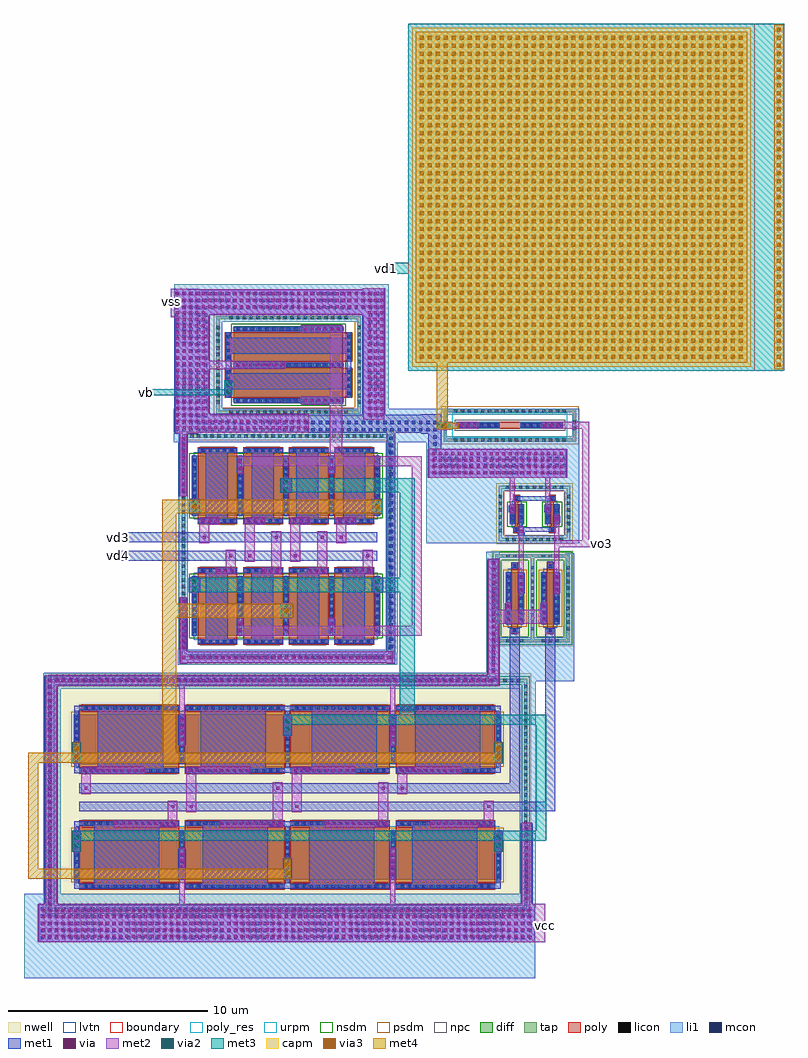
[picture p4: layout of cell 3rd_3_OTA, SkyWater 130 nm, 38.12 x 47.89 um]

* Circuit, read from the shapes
.subckt 3rd_3_OTA vb vcc vd1 vd3 vd4 vo3 vss
XM1 n1 vd4 n2 vss sky130_fd_pr__nfet_01v8_lvt w=3 l=2 m=4
XM2 n1 vd3 n3 vss sky130_fd_pr__nfet_01v8_lvt w=3 l=2 m=4
XM3 vss vb n1 vss sky130_fd_pr__nfet_01v8 w=5.5 l=1.5 m=2
XM4 n4 n4 vss vss sky130_fd_pr__nfet_01v8_lvt w=1 l=0.15
XM5 vo3 n4 vss vss sky130_fd_pr__nfet_01v8_lvt w=1 l=0.15
XM6 vcc n2 n2 vcc sky130_fd_pr__pfet_01v8_lvt w=2.5 l=5 m=4
XM7 vcc n3 n3 vcc sky130_fd_pr__pfet_01v8_lvt w=2.5 l=5 m=4
XM8 n4 n3 vcc vcc sky130_fd_pr__pfet_01v8_lvt w=2.6 l=0.35
XM9 vo3 n2 vcc vcc sky130_fd_pr__pfet_01v8_lvt w=2.6 l=0.35
XC10 n5 vd1 sky130_fd_pr__cap_mim_m3_1 w=17 l=17
XR11 vo3 n5 vss sky130_fd_pr__res_xhigh_po w=0.35 l=1.08
.ends

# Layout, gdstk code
from math import pi, radians
import gdstk
lib = gdstk.Library(unit=1e-6, precision=1e-09)
def R(c, l, rs):  # rectangles x0, y0, x1, y1
    for r in rs: c.add(gdstk.rectangle(r[:2], r[2:], *l))
def A(c, l, x, y, w, h, nx, ny, dx, dy):  # array of equal rectangles
    R(c, l, [(x+i*dx, y+j*dy, x+i*dx+w, y+j*dy+h) for i in range(nx) for j in range(ny)])
nwell = (64, 20)
diff = (65, 20)
tap = (65, 44)
poly_res = (66, 13)
poly = (66, 20)
licon = (66, 44)
li1 = (67, 20)
mcon = (67, 44)
met1 = (68, 20)
via = (68, 44)
met2 = (69, 20)
via2 = (69, 44)
met3 = (70, 20)
via3 = (70, 44)
met4 = (71, 20)
urpm = (79, 20)
capm = (89, 44)
nsdm = (93, 44)
psdm = (94, 20)
npc = (95, 20)
lvtn = (125, 44)
boundary = (235, 4)

sky130_fd_pr__res_xhigh_ = lib.new_cell('sky130_fd_pr__res_xhigh_po_0p35_NX66A7')
R(sky130_fd_pr__res_xhigh_, tap, [(-0.825,-3.33,0.825,-3.16), (-0.825,-3.16,-0.655,3.16), (0.655,-3.16,0.825,3.16), (-0.825,3.16,0.825,3.33)])
R(sky130_fd_pr__res_xhigh_, poly_res, [(-0.175,-0.6,0.175,0.6)])
R(sky130_fd_pr__res_xhigh_, poly, [(-0.175,-2.68,0.175,2.68)])
A(sky130_fd_pr__res_xhigh_, licon, -0.825, -2.805, 0.17, 0.17, 1, 17, 0, 0.34)
A(sky130_fd_pr__res_xhigh_, licon, 0.655, -2.805, 0.17, 0.17, 1, 17, 0, 0.34)
R(sky130_fd_pr__res_xhigh_, licon, [(-0.255,-3.33,-0.085,-3.16), (0.085,-3.33,0.255,-3.16), (-0.095,-2.6,0.095,-0.6), (-0.095,0.6,0.095,2.6), (-0.255,3.16,-0.085,3.33), (0.085,3.16,0.255,3.33)])
R(sky130_fd_pr__res_xhigh_, li1, [(-0.825,-3.33,0.825,-3.16), (-0.825,-3.16,-0.655,3.16), (0.655,-3.16,0.825,3.16), (-0.175,-2.68,0.175,-0.52), (-0.175,0.52,0.175,2.68), (-0.825,3.16,0.825,3.33)])
A(sky130_fd_pr__res_xhigh_, mcon, -0.085, -2.585, 0.17, 0.17, 1, 6, 0, 0.36)
A(sky130_fd_pr__res_xhigh_, mcon, -0.085, 0.61, 0.17, 0.17, 1, 6, 0, 0.36)
R(sky130_fd_pr__res_xhigh_, met1, [(-0.125,-2.65,0.125,-0.545), (-0.125,0.545,0.125,2.65)])
R(sky130_fd_pr__res_xhigh_, urpm, [(-0.635,-2.88,0.635,2.88)])
R(sky130_fd_pr__res_xhigh_, psdm, [(-0.95,-3.455,0.95,3.455)])
R(sky130_fd_pr__res_xhigh_, npc, [(-0.27,-2.775,0.27,2.775)])
R(sky130_fd_pr__res_xhigh_, boundary, [(-0.74,-3.245,0.74,3.245)])

sky130_fd_pr__nfet_01v8_ = lib.new_cell('sky130_fd_pr__nfet_01v8_lvt_D5AAWA')
R(sky130_fd_pr__nfet_01v8_, diff, [(-1.29,-1.5,1.29,1.5)])
R(sky130_fd_pr__nfet_01v8_, poly, [(-1,-1.94,1,1.94)])
A(sky130_fd_pr__nfet_01v8_, licon, -0.765, -1.86, 0.17, 0.17, 5, 2, 0.34, 3.55)
A(sky130_fd_pr__nfet_01v8_, licon, -1.23, -1.275, 0.17, 0.17, 1, 8, 0, 0.34)
A(sky130_fd_pr__nfet_01v8_, licon, 1.06, -1.275, 0.17, 0.17, 1, 8, 0, 0.34)
R(sky130_fd_pr__nfet_01v8_, li1, [(-1,-1.86,1,-1.69), (-1.23,-1.52,-1.06,1.52), (1.06,-1.52,1.23,1.52), (-1,1.69,1,1.86)])
A(sky130_fd_pr__nfet_01v8_, mcon, -0.805, -1.86, 0.17, 0.17, 5, 2, 0.36, 3.55)
A(sky130_fd_pr__nfet_01v8_, mcon, -1.23, -1.345, 0.17, 0.17, 1, 8, 0, 0.36)
A(sky130_fd_pr__nfet_01v8_, mcon, 1.06, -1.345, 0.17, 0.17, 1, 8, 0, 0.36)
R(sky130_fd_pr__nfet_01v8_, met1, [(-0.98,-1.89,0.98,-1.66), (-1.26,-1.5,-1.03,1.5), (1.03,-1.5,1.26,1.5), (-0.98,1.66,0.98,1.89)])
R(sky130_fd_pr__nfet_01v8_, nsdm, [(-1.415,-1.625,1.415,1.625)])
R(sky130_fd_pr__nfet_01v8_, npc, [(-0.865,-1.96,0.865,-1.59), (-0.865,1.59,0.865,1.96)])
R(sky130_fd_pr__nfet_01v8_, lvtn, [(-1.18,-1.68,1.18,1.68)])

sky130_fd_pr__pfet_01v8_ = lib.new_cell('sky130_fd_pr__pfet_01v8_lvt_227YHS')
R(sky130_fd_pr__pfet_01v8_, nwell, [(-2.97,-1.75,2.97,1.75)])
R(sky130_fd_pr__pfet_01v8_, diff, [(-2.79,-1.25,2.79,1.25)])
R(sky130_fd_pr__pfet_01v8_, poly, [(-2.5,-1.735,2.5,1.735)])
A(sky130_fd_pr__pfet_01v8_, licon, -2.295, -1.655, 0.17, 0.17, 14, 2, 0.34, 3.14)
A(sky130_fd_pr__pfet_01v8_, licon, -2.73, -1.105, 0.17, 0.17, 1, 7, 0, 0.34)
A(sky130_fd_pr__pfet_01v8_, licon, 2.56, -1.105, 0.17, 0.17, 1, 7, 0, 0.34)
R(sky130_fd_pr__pfet_01v8_, li1, [(-2.5,-1.655,2.5,-1.485), (-2.73,-1.27,-2.56,1.27), (2.56,-1.27,2.73,1.27), (-2.5,1.485,2.5,1.655)])
A(sky130_fd_pr__pfet_01v8_, mcon, -2.245, -1.655, 0.17, 0.17, 13, 2, 0.36, 3.14)
A(sky130_fd_pr__pfet_01v8_, mcon, -2.73, -1.165, 0.17, 0.17, 1, 7, 0, 0.36)
A(sky130_fd_pr__pfet_01v8_, mcon, 2.56, -1.165, 0.17, 0.17, 1, 7, 0, 0.36)
R(sky130_fd_pr__pfet_01v8_, met1, [(-2.48,-1.685,2.48,-1.455), (-2.76,-1.25,-2.53,1.25), (2.53,-1.25,2.76,1.25), (-2.48,1.455,2.48,1.685)])
R(sky130_fd_pr__pfet_01v8_, psdm, [(-2.915,-1.375,2.915,1.375)])
R(sky130_fd_pr__pfet_01v8_, npc, [(-2.395,-1.755,2.395,-1.385), (-2.395,1.385,2.395,1.755)])
R(sky130_fd_pr__pfet_01v8_, lvtn, [(-2.68,-1.43,2.68,1.43)])

c_sky130_fd_pr__nfet_01v8_ = lib.new_cell('sky130_fd_pr__nfet_01v8_lvt_RX9YJP')
R(c_sky130_fd_pr__nfet_01v8_, diff, [(-0.365,-0.5,0.365,0.5)])
R(c_sky130_fd_pr__nfet_01v8_, poly, [(-0.165,-0.94,0.165,-0.61), (-0.075,-0.61,0.075,0.61), (-0.165,0.61,0.165,0.94)])
A(c_sky130_fd_pr__nfet_01v8_, licon, -0.305, -0.425, 0.17, 0.17, 1, 3, 0, 0.34)
A(c_sky130_fd_pr__nfet_01v8_, licon, 0.135, -0.425, 0.17, 0.17, 1, 3, 0, 0.34)
R(c_sky130_fd_pr__nfet_01v8_, licon, [(-0.085,-0.86,0.085,-0.69), (-0.085,0.69,0.085,0.86)])
R(c_sky130_fd_pr__nfet_01v8_, li1, [(-0.165,-0.86,0.165,-0.69), (-0.305,-0.52,-0.135,0.52), (0.135,-0.52,0.305,0.52), (-0.165,0.69,0.165,0.86)])
R(c_sky130_fd_pr__nfet_01v8_, mcon, [(-0.085,-0.86,0.085,-0.69), (-0.305,-0.265,-0.135,-0.095), (0.135,-0.265,0.305,-0.095), (-0.305,0.095,-0.135,0.265), (0.135,0.095,0.305,0.265), (-0.085,0.69,0.085,0.86)])
R(c_sky130_fd_pr__nfet_01v8_, met1, [(-0.145,-0.89,0.145,-0.66), (-0.335,-0.5,-0.105,0.5), (0.105,-0.5,0.335,0.5), (-0.145,0.66,0.145,0.89)])
R(c_sky130_fd_pr__nfet_01v8_, nsdm, [(-0.49,-0.625,0.49,0.625)])
R(c_sky130_fd_pr__nfet_01v8_, npc, [(-0.185,-0.96,0.185,-0.59), (-0.185,0.59,0.185,0.96)])
R(c_sky130_fd_pr__nfet_01v8_, lvtn, [(-0.255,-0.68,0.255,0.68)])

c_sky130_fd_pr__pfet_01v8_ = lib.new_cell('sky130_fd_pr__pfet_01v8_lvt_K7KF7V')
R(c_sky130_fd_pr__pfet_01v8_, nwell, [(-1.155,-2.395,1.155,2.395)])
R(c_sky130_fd_pr__pfet_01v8_, diff, [(-0.465,-1.3,0.465,1.3)])
R(c_sky130_fd_pr__pfet_01v8_, tap, [(-0.975,-2.215,0.975,-2.045), (-0.975,-2.045,-0.805,2.045), (0.805,-2.045,0.975,2.045), (-0.975,2.045,0.975,2.215)])
R(c_sky130_fd_pr__pfet_01v8_, poly, [(-0.175,-1.785,0.175,1.785)])
A(c_sky130_fd_pr__pfet_01v8_, licon, -0.425, -2.215, 0.17, 0.17, 3, 2, 0.34, 4.26)
A(c_sky130_fd_pr__pfet_01v8_, licon, -0.975, -1.615, 0.17, 0.17, 1, 10, 0, 0.34)
A(c_sky130_fd_pr__pfet_01v8_, licon, 0.805, -1.615, 0.17, 0.17, 1, 10, 0, 0.34)
A(c_sky130_fd_pr__pfet_01v8_, licon, -0.405, -1.105, 0.17, 0.17, 1, 7, 0, 0.34)
A(c_sky130_fd_pr__pfet_01v8_, licon, 0.235, -1.105, 0.17, 0.17, 1, 7, 0, 0.34)
R(c_sky130_fd_pr__pfet_01v8_, licon, [(-0.085,-1.705,0.085,-1.535), (-0.085,1.535,0.085,1.705)])
R(c_sky130_fd_pr__pfet_01v8_, li1, [(-0.975,-2.215,0.975,-2.045), (-0.975,-2.045,-0.805,2.045), (0.805,-2.045,0.975,2.045), (-0.175,-1.705,0.175,-1.535), (-0.405,-1.32,-0.235,1.32), (0.235,-1.32,0.405,1.32), (-0.175,1.535,0.175,1.705), (-0.975,2.045,0.975,2.215)])
A(c_sky130_fd_pr__pfet_01v8_, mcon, -0.405, -1.165, 0.17, 0.17, 1, 7, 0, 0.36)
A(c_sky130_fd_pr__pfet_01v8_, mcon, 0.235, -1.165, 0.17, 0.17, 1, 7, 0, 0.36)
R(c_sky130_fd_pr__pfet_01v8_, mcon, [(-0.085,-1.705,0.085,-1.535), (-0.085,1.535,0.085,1.705)])
R(c_sky130_fd_pr__pfet_01v8_, met1, [(-0.155,-1.735,0.155,-1.505), (-0.435,-1.3,-0.205,1.3), (0.205,-1.3,0.435,1.3), (-0.155,1.505,0.155,1.735)])
R(c_sky130_fd_pr__pfet_01v8_, nsdm, [(-1.1,-2.34,1.1,-1.92), (-1.1,-1.92,-0.68,1.92), (0.68,-1.92,1.1,1.92), (-1.1,1.92,1.1,2.34)])
R(c_sky130_fd_pr__pfet_01v8_, psdm, [(-0.59,-1.425,0.59,1.425)])
R(c_sky130_fd_pr__pfet_01v8_, npc, [(-0.185,-1.805,0.185,-1.435), (-0.185,1.435,0.185,1.805)])
R(c_sky130_fd_pr__pfet_01v8_, lvtn, [(-0.355,-1.48,0.355,1.48)])
R(c_sky130_fd_pr__pfet_01v8_, boundary, [(-0.89,-2.13,0.89,2.13)])

c_sky130_fd_pr__nfet_01v8__ = lib.new_cell('sky130_fd_pr__nfet_01v8_22NDE3')
R(c_sky130_fd_pr__nfet_01v8__, diff, [(-1.935,-2.75,1.935,2.75)])
R(c_sky130_fd_pr__nfet_01v8__, tap, [(-2.445,-3.62,2.445,-3.45), (-2.445,-3.45,-2.275,3.45), (2.275,-3.45,2.445,3.45), (-2.445,3.45,2.445,3.62)])
R(c_sky130_fd_pr__nfet_01v8__, poly, [(-1.645,-3.19,-0.145,3.19), (0.145,-3.19,1.645,3.19)])
A(c_sky130_fd_pr__nfet_01v8__, licon, -1.955, -3.62, 0.17, 0.17, 12, 2, 0.34, 7.07)
A(c_sky130_fd_pr__nfet_01v8__, licon, -1.49, -3.11, 0.17, 0.17, 4, 2, 0.34, 6.05)
A(c_sky130_fd_pr__nfet_01v8__, licon, 0.3, -3.11, 0.17, 0.17, 4, 2, 0.34, 6.05)
A(c_sky130_fd_pr__nfet_01v8__, licon, -2.445, -2.975, 0.17, 0.17, 1, 18, 0, 0.34)
A(c_sky130_fd_pr__nfet_01v8__, licon, 2.275, -2.975, 0.17, 0.17, 1, 18, 0, 0.34)
A(c_sky130_fd_pr__nfet_01v8__, licon, -1.875, -2.635, 0.17, 0.17, 3, 16, 1.79, 0.34)
A(c_sky130_fd_pr__nfet_01v8__, li1, -1.875, -2.77, 0.17, 5.54, 3, 1, 1.79, 0)
R(c_sky130_fd_pr__nfet_01v8__, li1, [(-2.445,-3.62,2.445,-3.45), (-2.445,-3.45,-2.275,3.45), (2.275,-3.45,2.445,3.45), (-1.645,-3.11,-0.145,-2.94), (0.145,-3.11,1.645,-2.94), (-1.645,2.94,-0.145,3.11), (0.145,2.94,1.645,3.11), (-2.445,3.45,2.445,3.62)])
A(c_sky130_fd_pr__nfet_01v8__, mcon, -1.52, -3.11, 0.17, 0.17, 4, 2, 0.36, 6.05)
A(c_sky130_fd_pr__nfet_01v8__, mcon, 0.27, -3.11, 0.17, 0.17, 4, 2, 0.36, 6.05)
A(c_sky130_fd_pr__nfet_01v8__, mcon, -1.875, -2.605, 0.17, 0.17, 3, 15, 1.79, 0.36)
A(c_sky130_fd_pr__nfet_01v8__, met1, -1.905, -2.75, 0.23, 5.5, 3, 1, 1.79, 0)
R(c_sky130_fd_pr__nfet_01v8__, met1, [(-1.625,-3.14,-0.165,-2.91), (0.165,-3.14,1.625,-2.91), (-1.625,2.91,-0.165,3.14), (0.165,2.91,1.625,3.14)])
R(c_sky130_fd_pr__nfet_01v8__, nsdm, [(-2.06,-2.875,2.06,2.875)])
R(c_sky130_fd_pr__nfet_01v8__, psdm, [(-2.57,-3.745,2.57,-3.325), (-2.57,-3.325,-2.15,3.325), (2.15,-3.325,2.57,3.325), (-2.57,3.325,2.57,3.745)])
R(c_sky130_fd_pr__nfet_01v8__, npc, [(-1.59,-3.21,-0.2,-2.84), (0.2,-3.21,1.59,-2.84), (-1.59,2.84,-0.2,3.21), (0.2,2.84,1.59,3.21)])
R(c_sky130_fd_pr__nfet_01v8__, boundary, [(-2.36,-3.535,2.36,3.535)])

sky130_fd_pr__cap_mim_m3 = lib.new_cell('sky130_fd_pr__cap_mim_m3_1_Q3FE5R')
R(sky130_fd_pr__cap_mim_m3, met3, [(-9.43,-8.7,9.43,8.7)])
A(sky130_fd_pr__cap_mim_m3, via3, 9.07, -8.5, 0.2, 0.2, 1, 43, 0, 0.4)
A(sky130_fd_pr__cap_mim_m3, via3, -8.83, -8.1, 0.2, 0.2, 41, 41, 0.4, 0.4)
R(sky130_fd_pr__cap_mim_m3, met4, [(8.93,-8.64,9.41,8.64), (-9.035,-8.305,7.575,8.305)])
R(sky130_fd_pr__cap_mim_m3, capm, [(-9.23,-8.5,7.77,8.5)])
R(sky130_fd_pr__cap_mim_m3, boundary, [(-9.43,-8.7,7.97,8.7)])

c_3rd_3_ota = lib.new_cell('3rd_3_OTA')
R(c_3rd_3_ota, nwell, [(-4.1,2.42,20.37,14.59)])
R(c_3rd_3_ota, tap, [(-3.84,2.64,20.19,2.81), (-3.84,2.81,-3.67,14.135), (20.02,2.81,20.19,14.135), (-3.84,14.135,20.19,14.305), (2.86,15.375,13.37,15.545), (2.86,15.545,3.03,26.395), (13.2,15.545,13.37,26.395), (18.74,21.2,22.335,21.37), (18.74,21.37,18.91,23.83), (22.165,21.37,22.335,23.83), (18.74,23.83,22.335,24), (2.86,26.395,13.37,26.565)])
A(c_3rd_3_ota, licon, -3.47, 2.64, 0.17, 0.17, 69, 2, 0.34, 11.495)
A(c_3rd_3_ota, licon, -3.84, 2.945, 0.17, 0.17, 1, 33, 0, 0.34)
A(c_3rd_3_ota, licon, 20.02, 2.945, 0.17, 0.17, 1, 33, 0, 0.34)
A(c_3rd_3_ota, licon, 3.27, 15.375, 0.17, 0.17, 29, 2, 0.34, 11.02)
A(c_3rd_3_ota, licon, 2.86, 15.785, 0.17, 0.17, 1, 31, 0, 0.34)
A(c_3rd_3_ota, licon, 13.2, 15.785, 0.17, 0.17, 1, 31, 0, 0.34)
A(c_3rd_3_ota, licon, 19.09, 21.2, 0.17, 0.17, 9, 2, 0.34, 2.63)
A(c_3rd_3_ota, licon, 18.74, 21.665, 0.17, 0.17, 1, 6, 0, 0.34)
A(c_3rd_3_ota, licon, 22.165, 21.665, 0.17, 0.17, 1, 6, 0, 0.34)
R(c_3rd_3_ota, li1, [(-5.065,-0.72,20.585,2.8), (-5.065,2.8,20.6,3.53), (-4.11,3.53,-3.21,13.81), (19.81,3.53,20.6,13.81), (-4.11,13.81,20.6,14.19), (-4.11,14.19,22.535,14.57), (-4.04,14.57,22.535,14.6), (18.115,14.6,22.535,16.395), (2.65,15.005,13.655,15.615), (2.65,15.615,13.695,15.755), (2.685,15.755,3.15,26.165), (13.085,15.755,13.695,26.16), (18.115,16.395,18.805,20.675), (22.12,16.395,22.535,20.605), (15.125,21.1,22.795,21.49), (15.125,21.49,19,23.745), (22.065,21.49,22.795,23.745), (15.125,23.745,22.795,26.16), (13.085,26.16,22.795,26.165), (2.455,26.165,22.795,26.48), (2.455,26.48,16.05,27.54), (22.44,26.48,22.795,27.54), (2.455,27.54,22.795,27.855), (2.47,27.855,4.885,32.205), (11.675,27.855,13.235,32.205), (13.6,27.855,22.795,27.86), (2.47,32.205,13.235,34.105)])
A(c_3rd_3_ota, mcon, -4.235, 1.235, 0.17, 0.17, 69, 5, 0.36, 0.36)
A(c_3rd_3_ota, mcon, -3.875, 3.035, 0.17, 0.17, 1, 31, 0, 0.36)
A(c_3rd_3_ota, mcon, 20.07, 3.21, 0.17, 0.17, 1, 11, 0, 0.36)
A(c_3rd_3_ota, mcon, -3.875, 14.195, 0.17, 0.17, 63, 1, 0.36, 0)
A(c_3rd_3_ota, mcon, 18.395, 14.67, 0.17, 0.17, 1, 16, 0, 0.36)
A(c_3rd_3_ota, mcon, 3.345, 15.3, 0.17, 0.17, 27, 1, 0.36, 0)
A(c_3rd_3_ota, mcon, 13.255, 15.85, 0.17, 0.17, 1, 30, 0, 0.36)
A(c_3rd_3_ota, mcon, 2.845, 15.92, 0.17, 0.17, 1, 7, 0, 0.36)
A(c_3rd_3_ota, mcon, 2.84, 23.65, 0.17, 0.17, 1, 8, 0, 0.36)
A(c_3rd_3_ota, mcon, 15.475, 24.555, 0.17, 0.17, 19, 3, 0.36, 0.36)
A(c_3rd_3_ota, mcon, 15.475, 25.635, 0.17, 0.17, 1, 3, 0, 0.36)
A(c_3rd_3_ota, mcon, 2.515, 26.715, 0.17, 0.17, 37, 2, 0.36, 0.36)
A(c_3rd_3_ota, mcon, 2.515, 27.435, 0.17, 0.17, 5, 15, 0.36, 0.36)
A(c_3rd_3_ota, mcon, 12.235, 27.435, 0.17, 0.17, 1, 15, 0, 0.36)
A(c_3rd_3_ota, mcon, 12.595, 27.435, 0.17, 0.17, 1, 15, 0, 0.36)
A(c_3rd_3_ota, mcon, 2.515, 32.835, 0.17, 0.17, 29, 3, 0.36, 0.36)
R(c_3rd_3_ota, mcon, [(2.845,15.3,3.015,15.47), (13.255,15.3,13.425,15.47)])
A(c_3rd_3_ota, met1, 4.51, 19.63, 1.1, 0.23, 3, 1, 2.29, 0)
R(c_3rd_3_ota, met1, [(19.17,1.08,20.525,1.115), (-4.375,1.115,20.525,1.14), (-4.375,1.14,20.545,2.965), (-4.375,2.965,20.525,3), (-4.055,3,-3.37,13.95), (19.17,3,20.525,3.025), (19.865,3.025,20.45,7.035), (-2.545,3.785,-2.22,4.015), (7.98,3.785,8.325,4.015), (18.505,3.785,18.845,4.015), (-1.54,3.995,1.725,6.91), (3.89,4.005,7.155,6.91), (9.24,4.005,12.505,6.905), (14.405,4.01,17.67,6.91), (-2.545,4.015,-2.315,4.255), (8.035,4.015,8.265,4.23), (18.615,4.015,18.845,4.235), (2.68,4.28,3.04,5.78), (7.94,4.28,8.36,5.28), (13.26,4.28,13.62,5.78), (-2.64,5.66,-2.22,6.66), (18.52,5.66,18.94,6.66), (-2.545,6.715,-2.315,6.925), (8.035,6.72,8.265,6.91), (9.24,6.905,13.265,6.95), (-1.54,6.91,2.685,6.94), (3.89,6.91,8.34,6.95), (14.405,6.91,18.555,6.955), (-2.545,6.925,-2.26,7.155), (-0.615,6.94,2.685,7.17), (4.675,6.95,8.34,7.17), (9.965,6.95,13.265,7.165), (15.255,6.955,18.555,7.17), (19.885,7.035,20.43,7.095), (-2.3,7.65,21.58,8.15), (21.08,8.15,21.58,16.84), (-2.285,8.56,19.805,9.06), (19.305,9.06,19.805,16.84), (-2.545,9.575,-2.315,9.58), (-2.545,9.58,1.045,9.82), (3.035,9.58,6.335,9.815), (8.325,9.58,11.625,9.595), (13.615,9.58,16.915,9.815), (7.98,9.595,11.625,9.815), (18.47,9.595,18.845,9.825), (3.035,9.815,7.07,9.84), (7.98,9.815,12.625,9.825), (13.615,9.815,17.815,9.84), (-2.545,9.82,1.91,9.84), (8.035,9.825,12.625,9.84), (18.615,9.825,18.845,10.04), (-2.545,9.84,-2.155,9.845), (-1.355,9.84,1.91,12.765), (3.805,9.84,7.07,12.76), (8.035,9.84,8.265,10.04), (9.36,9.84,12.625,12.76), (14.55,9.84,17.815,12.76), (-2.545,9.845,-2.315,10.035), (-2.64,10.09,-2.22,11.09), (18.52,10.09,18.94,11.09), (2.68,10.97,3.04,12.47), (13.26,10.97,13.62,12.47), (7.94,11.47,8.36,12.47), (-2.545,12.52,-2.315,12.735), (18.615,12.525,18.845,12.735), (8.035,12.53,8.265,12.735), (-2.545,12.735,-2.26,12.965), (7.97,12.735,8.325,12.965), (18.545,12.735,18.845,12.965), (-4.055,13.95,18.8,14.43), (-4.035,14.43,18.8,14.49), (-3.89,14.49,18.8,14.495), (18.17,14.495,18.79,20.26), (2.755,15.07,3.105,15.1), (13.12,15.07,13.56,15.1), (2.755,15.1,13.56,15.13), (2.735,15.13,13.56,15.675), (2.735,15.675,3.125,18.335), (13.12,15.675,13.56,26.64), (10.92,16.28,12.025,19.6), (4.04,16.285,5.145,19.6), (6.335,16.285,7.44,19.6), (8.65,16.285,9.755,19.6), (5.605,16.515,5.965,17.315), (10.185,16.515,10.545,17.315), (19.055,17.105,19.415,18.105), (20.835,17.105,21.195,18.105), (7.795,17.37,8.365,18.055), (2.755,18.335,3.105,18.395), (19.695,18.585,20.055,19.585), (21.475,18.585,21.835,19.585), (3.2,18.66,3.77,19.345), (12.375,18.66,12.945,19.345), (4.04,19.6,5.61,19.63), (6.335,19.6,7.9,19.63), (8.65,19.6,10.19,19.63), (10.92,19.6,12.48,19.625), (11.38,19.625,12.48,19.86), (19.39,19.845,19.715,20.135), (21.18,19.85,21.49,20.205), (-0.335,20.22,12.655,20.72), (18.19,20.26,18.77,20.32), (-0.335,21.15,12.655,21.65), (19.695,21.515,20.055,21.68), (19.695,21.68,21.345,21.91), (19.79,21.91,19.96,22.095), (3.67,22.085,4.77,22.315), (5.96,22.085,7.06,22.33), (8.25,22.085,9.35,22.33), (10.54,22.085,11.64,22.325), (21.475,22.13,21.835,22.485), (3.67,22.315,5.155,22.345), (10.54,22.325,12.045,22.345), (5.96,22.33,7.47,22.345), (8.25,22.33,9.695,22.345), (4.05,22.345,5.155,25.66), (6.365,22.345,7.47,25.675), (8.59,22.345,9.695,25.675), (10.94,22.345,12.045,25.67), (3.205,22.605,3.775,23.29), (12.365,22.605,12.935,23.29), (19.255,22.655,19.615,23.01), (21.035,22.655,21.395,23.01), (19.71,23.23,21.555,23.46), (2.71,23.455,3.14,23.515), (2.69,23.515,3.16,26.61), (7.79,23.66,8.36,24.345), (15.18,24.4,22.19,25.82), (5.605,24.63,5.965,25.43), (10.185,24.63,10.545,25.43), (15.21,25.82,15.87,26.61), (2.485,26.61,3.68,26.64), (14.865,26.61,15.87,26.64), (2.485,26.64,15.87,26.67), (2.465,26.67,15.87,27.55), (16.67,26.89,17.78,27.15), (20.84,26.895,21.95,27.155), (2.465,27.55,9.28,27.555), (11.91,27.55,13.065,32.57), (14.865,27.55,15.87,27.58), (2.465,27.555,4.255,32.57), (8.8,28.1,10.945,28.425), (4.99,28.565,5.37,28.825), (4.99,28.825,11.14,29.265), (5.265,29.265,11.14,29.63), (5.065,29.88,5.295,30.235), (11.115,29.88,11.345,30.23), (5.465,29.895,8.065,30.215), (5.265,30.6,11.14,31.405), (8.8,31.68,10.945,32.005), (2.465,32.57,13.065,33.805), (2.485,33.805,13.065,33.825), (2.485,33.825,3.68,33.865), (11.91,33.825,13.065,33.85), (11.93,33.85,13.045,33.91)])
A(c_3rd_3_ota, via, -4.145, 1.325, 0.15, 0.15, 77, 5, 0.32, 0.32)
A(c_3rd_3_ota, via, -3.825, 2.925, 0.15, 0.15, 1, 35, 0, 0.32)
A(c_3rd_3_ota, via, 20.08, 3.195, 0.15, 0.15, 1, 12, 0, 0.32)
A(c_3rd_3_ota, via, 8.075, 4.385, 0.15, 0.15, 1, 3, 0, 0.32)
A(c_3rd_3_ota, via, 2.785, 4.475, 0.15, 0.15, 1, 4, 0, 0.32)
A(c_3rd_3_ota, via, 13.365, 4.475, 0.15, 0.15, 1, 4, 0, 0.32)
A(c_3rd_3_ota, via, -2.505, 5.765, 0.15, 0.15, 1, 3, 0, 0.32)
A(c_3rd_3_ota, via, 18.655, 5.765, 0.15, 0.15, 1, 3, 0, 0.32)
A(c_3rd_3_ota, via, 10.1, 6.96, 0.15, 0.15, 10, 1, 0.32, 0)
A(c_3rd_3_ota, via, -0.48, 6.965, 0.15, 0.15, 10, 1, 0.32, 0)
A(c_3rd_3_ota, via, 4.81, 6.965, 0.15, 0.15, 10, 1, 0.32, 0)
A(c_3rd_3_ota, via, 15.39, 6.965, 0.15, 0.15, 10, 1, 0.32, 0)
A(c_3rd_3_ota, via, -2.12, 9.635, 0.15, 0.15, 10, 1, 0.32, 0)
A(c_3rd_3_ota, via, 3.17, 9.635, 0.15, 0.15, 10, 1, 0.32, 0)
A(c_3rd_3_ota, via, 8.46, 9.635, 0.15, 0.15, 10, 1, 0.32, 0)
A(c_3rd_3_ota, via, 13.75, 9.635, 0.15, 0.15, 10, 1, 0.32, 0)
A(c_3rd_3_ota, via, -2.505, 10.195, 0.15, 0.15, 1, 3, 0, 0.32)
A(c_3rd_3_ota, via, 18.655, 10.195, 0.15, 0.15, 1, 3, 0, 0.32)
A(c_3rd_3_ota, via, 2.785, 11.165, 0.15, 0.15, 1, 4, 0, 0.32)
A(c_3rd_3_ota, via, 13.365, 11.165, 0.15, 0.15, 1, 4, 0, 0.32)
A(c_3rd_3_ota, via, 8.075, 11.575, 0.15, 0.15, 1, 3, 0, 0.32)
A(c_3rd_3_ota, via, -3.825, 14.125, 0.15, 0.15, 70, 1, 0.32, 0)
A(c_3rd_3_ota, via, 18.405, 14.595, 0.15, 0.15, 1, 18, 0, 0.32)
A(c_3rd_3_ota, via, 3.245, 15.31, 0.15, 0.15, 32, 1, 0.32, 0)
A(c_3rd_3_ota, via, 2.855, 15.825, 0.15, 0.15, 1, 8, 0, 0.32)
A(c_3rd_3_ota, via, 19.16, 17.21, 0.15, 0.15, 1, 3, 0, 0.32)
A(c_3rd_3_ota, via, 20.94, 17.21, 0.15, 0.15, 1, 3, 0, 0.32)
A(c_3rd_3_ota, via, 19.8, 18.69, 0.15, 0.15, 1, 3, 0, 0.32)
A(c_3rd_3_ota, via, 21.58, 18.69, 0.15, 0.15, 1, 3, 0, 0.32)
A(c_3rd_3_ota, via, 4.665, 19.655, 0.15, 0.15, 3, 1, 0.32, 0)
A(c_3rd_3_ota, via, 6.955, 19.655, 0.15, 0.15, 3, 1, 0.32, 0)
A(c_3rd_3_ota, via, 9.245, 19.655, 0.15, 0.15, 3, 1, 0.32, 0)
A(c_3rd_3_ota, via, 11.535, 19.655, 0.15, 0.15, 3, 1, 0.32, 0)
A(c_3rd_3_ota, via, 3.825, 22.14, 0.15, 0.15, 3, 1, 0.32, 0)
A(c_3rd_3_ota, via, 6.115, 22.14, 0.15, 0.15, 3, 1, 0.32, 0)
A(c_3rd_3_ota, via, 8.405, 22.14, 0.15, 0.15, 3, 1, 0.32, 0)
A(c_3rd_3_ota, via, 10.695, 22.14, 0.15, 0.15, 3, 1, 0.32, 0)
A(c_3rd_3_ota, via, 2.85, 23.705, 0.15, 0.15, 1, 9, 0, 0.32)
A(c_3rd_3_ota, via, 15.41, 24.555, 0.15, 0.15, 21, 4, 0.32, 0.32)
A(c_3rd_3_ota, via, 2.57, 26.825, 0.15, 0.15, 21, 2, 0.32, 0.32)
A(c_3rd_3_ota, via, 16.83, 26.945, 0.15, 0.15, 3, 1, 0.32, 0)
A(c_3rd_3_ota, via, 21, 26.95, 0.15, 0.15, 3, 1, 0.32, 0)
A(c_3rd_3_ota, via, 2.57, 27.465, 0.15, 0.15, 5, 17, 0.32, 0.32)
A(c_3rd_3_ota, via, 12.17, 27.465, 0.15, 0.15, 3, 17, 0.32, 0.32)
A(c_3rd_3_ota, via, 8.995, 28.185, 0.15, 0.15, 6, 2, 0.32, 3.58)
A(c_3rd_3_ota, via, 5.57, 29.98, 0.15, 0.15, 8, 1, 0.32, 0)
A(c_3rd_3_ota, via, 2.57, 32.905, 0.15, 0.15, 33, 3, 0.32, 0.32)
R(c_3rd_3_ota, via, [(2.31,7.825,2.46,7.975), (3.26,7.825,3.41,7.975), (8.55,7.825,8.7,7.975), (18.18,7.825,18.33,7.975), (-2.03,8.735,-1.88,8.885), (7.6,8.735,7.75,8.885), (12.89,8.735,13.04,8.885), (13.84,8.735,13.99,8.885), (2.855,15.31,3.005,15.46), (5.71,16.68,5.86,16.83), (10.29,16.68,10.44,16.83), (5.71,17,5.86,17.15), (10.29,17,10.44,17.15), (8.005,17.475,8.155,17.625), (8.005,17.795,8.155,17.945), (3.41,18.765,3.56,18.915), (12.585,18.765,12.735,18.915), (3.41,19.085,3.56,19.235), (12.585,19.085,12.735,19.235), (5.235,20.395,5.385,20.545), (6.185,20.395,6.335,20.545), (8.475,20.395,8.625,20.545), (12.105,20.395,12.255,20.545), (3.895,21.325,4.045,21.475), (7.525,21.325,7.675,21.475), (9.815,21.325,9.965,21.475), (10.765,21.325,10.915,21.475), (19.8,21.635,19.95,21.785), (21.58,22.23,21.73,22.38), (3.415,22.71,3.565,22.86), (12.575,22.71,12.725,22.86), (19.36,22.755,19.51,22.905), (21.14,22.755,21.29,22.905), (3.415,23.03,3.565,23.18), (12.575,23.03,12.725,23.18), (8,23.765,8.15,23.915), (8,24.085,8.15,24.235), (5.71,24.795,5.86,24.945), (10.29,24.795,10.44,24.945), (5.71,25.115,5.86,25.265), (10.29,25.115,10.44,25.265), (5.105,28.68,5.255,28.83), (5.105,29,5.255,29.15)])
A(c_3rd_3_ota, met2, -2.205, 9.53, 3.2, 0.36, 4, 1, 5.29, 0)
A(c_3rd_3_ota, met2, 4.56, 19.55, 1, 0.36, 4, 1, 2.29, 0)
A(c_3rd_3_ota, met2, 3.72, 22.035, 1, 0.36, 4, 1, 2.29, 0)
R(c_3rd_3_ota, met2, [(20.395,1.085,21.085,1.09), (19.2,1.09,21.085,1.095), (-4.315,1.095,21.085,3.01), (-4.315,3.01,20.495,3.015), (-4.315,3.015,19.705,3.02), (19.915,3.015,20.4,7.085), (-4.005,3.02,-3.42,13.93), (2.73,3.02,2.99,5.83), (13.31,3.02,13.57,5.83), (7.99,4.23,8.31,5.33), (-2.59,5.61,-2.27,6.71), (18.57,5.61,18.89,6.71), (10.015,6.855,13.215,7.215), (-0.565,6.86,2.635,7.22), (4.725,6.86,7.925,7.22), (15.305,6.86,18.505,7.22), (12.715,7.215,13.215,9.11), (2.135,7.22,2.635,8.2), (7.425,7.22,7.925,9.11), (18.005,7.22,18.505,8.2), (3.085,7.6,3.585,9.53), (8.375,7.6,8.875,9.53), (-2.205,8.51,-1.705,9.53), (13.665,8.51,14.165,9.53), (-2.59,10.04,-2.27,11.14), (18.57,10.04,18.89,11.14), (2.73,10.92,2.99,13.93), (13.31,10.92,13.57,13.93), (7.99,11.42,8.31,12.52), (-4.005,13.93,18.74,14.48), (-3.83,14.48,18.74,14.515), (18.22,14.515,18.74,17.055), (2.785,15.08,13.425,15.695), (2.785,15.695,3.075,18.385), (5.655,16.465,5.915,16.47), (10.235,16.465,10.495,16.47), (5.655,16.47,14.895,16.97), (5.655,16.97,5.915,17.365), (10.235,16.97,10.495,17.365), (14.395,16.97,14.895,24.965), (18.22,17.055,21.145,17.765), (7.845,17.32,8.315,18.105), (18.22,17.765,18.74,20.31), (19.105,17.765,19.365,18.155), (20.885,17.765,21.145,18.155), (19.745,18.535,20.005,21.96), (21.525,18.535,21.785,20.905), (3.25,18.61,3.72,19.395), (12.425,18.61,12.895,19.395), (5.06,19.91,5.56,20.77), (7.35,19.91,7.85,21.7), (9.64,19.91,10.14,21.7), (11.93,19.91,12.43,20.77), (6.01,20.17,6.51,22.035), (8.3,20.17,8.8,22.035), (21.525,20.905,23.895,21.265), (3.72,21.1,4.22,22.035), (10.59,21.1,11.09,22.035), (21.525,21.265,21.785,22.535), (22.94,21.265,23.3,26.845), (3.255,22.555,3.725,23.34), (12.415,22.555,12.885,23.34), (19.305,22.605,19.565,24.38), (21.085,22.605,21.345,24.38), (2.74,23.465,3.11,26.62), (7.84,23.61,8.31,24.395), (15.24,24.38,22.13,25.84), (5.655,24.58,5.915,24.965), (10.235,24.58,10.495,24.965), (5.655,24.965,14.895,25.465), (5.655,25.465,5.915,25.48), (10.235,25.465,10.89,25.48), (10.28,25.48,10.89,28.05), (2.515,26.62,3.65,26.655), (2.515,26.655,9.23,27.605), (15.69,26.79,16.395,26.84), (15.69,26.84,17.73,27.15), (20.89,26.845,23.3,27.205), (15.69,27.15,16.395,27.2), (16.72,27.15,17.73,27.2), (11.96,27.295,13.015,32.55), (2.515,27.605,4.205,29.845), (8.85,28.05,10.895,28.475), (10.28,28.475,10.89,31.63), (5.04,28.515,5.32,29.315), (2.515,29.845,8.015,30.265), (2.515,30.265,4.205,32.435), (8.85,31.63,10.895,32.055), (2.305,32.435,4.205,32.55), (2.305,32.55,13.015,33.845), (2.305,33.845,3.65,33.855), (11.96,33.845,13.015,33.9), (2.305,33.855,3.105,33.86)])
R(c_3rd_3_ota, via2, [(8.05,4.48,8.25,4.68), (8.05,4.88,8.25,5.08), (-2.53,5.86,-2.33,6.06), (18.63,5.86,18.83,6.06), (-2.53,6.26,-2.33,6.46), (18.63,6.26,18.83,6.46), (-2.53,10.29,-2.33,10.49), (18.63,10.29,18.83,10.49), (-2.53,10.69,-2.33,10.89), (18.63,10.69,18.83,10.89), (8.05,11.67,8.25,11.87), (8.05,12.07,8.25,12.27), (7.98,17.41,8.18,17.61), (7.98,17.81,8.18,18.01), (3.385,18.7,3.585,18.9), (12.56,18.7,12.76,18.9), (3.385,19.1,3.585,19.3), (12.56,19.1,12.76,19.3), (3.39,22.645,3.59,22.845), (12.55,22.645,12.75,22.845), (3.39,23.045,3.59,23.245), (12.55,23.045,12.75,23.245), (7.975,23.7,8.175,23.9), (7.975,24.1,8.175,24.3), (15.74,26.895,15.94,27.095), (16.14,26.895,16.34,27.095), (5.08,28.615,5.28,28.815), (5.08,29.015,5.28,29.215)])
R(c_3rd_3_ota, met3, [(7.94,4.255,8.36,5.305), (-2.64,5.635,-2.22,6.185), (18.52,5.635,18.94,6.185), (-2.64,6.185,21.14,6.685), (20.64,6.685,21.14,11.995), (-2.64,10.065,-2.22,11.115), (18.52,10.065,18.94,11.115), (7.94,11.445,8.36,11.995), (7.94,11.995,21.14,12.495), (13.79,12.495,14.525,18.635), (7.795,17.345,8.365,18.08), (3.2,18.635,14.525,19.37), (13.79,19.37,14.525,23.66), (3.205,22.58,3.775,23.315), (12.365,22.58,12.935,23.315), (7.79,23.635,8.36,23.66), (7.79,23.66,14.525,24.37), (15.64,26.815,16.445,27.175), (1.1,28.54,5.37,28.84), (4.99,28.84,5.37,29.29), (13.09,34.635,14.335,35.17)])
R(c_3rd_3_ota, via3, [(8.05,4.48,8.25,4.68), (8.05,4.88,8.25,5.08), (-2.53,10.29,-2.33,10.49), (18.63,10.29,18.83,10.49), (-2.53,10.69,-2.33,10.89), (18.63,10.69,18.83,10.89), (7.98,17.61,8.18,17.81), (3.39,22.845,3.59,23.045), (12.55,22.845,12.75,23.045), (15.94,26.895,16.14,27.095)])
R(c_3rd_3_ota, met4, [(-4.855,4.275,8.315,4.775), (-4.855,4.775,-4.355,10.085), (7.985,4.775,8.315,5.285), (-4.855,10.085,18.895,10.585), (-2.595,10.585,-2.265,11.095), (1.87,10.585,2.565,17.365), (18.565,10.585,18.895,11.095), (1.87,17.365,8.43,18.06), (1.87,18.06,2.565,22.6), (1.87,22.6,12.89,23.295), (15.645,26.82,16.4,26.84), (15.645,26.84,16.74,27.15), (15.645,27.15,16.4,27.17), (15.645,27.17,16.2,30.23)])
R(c_3rd_3_ota, nsdm, [(-3.965,2.515,20.315,2.935), (-3.965,2.935,-3.545,14.01), (19.895,2.935,20.315,14.01), (-3.965,14.01,20.315,14.43)])
R(c_3rd_3_ota, psdm, [(2.735,15.25,13.495,15.67), (2.735,15.67,3.155,26.27), (13.075,15.67,13.495,26.27), (18.615,21.075,22.46,21.495), (18.615,21.495,19.035,23.705), (22.04,21.495,22.46,23.705), (18.615,23.705,22.46,24.125), (2.735,26.27,13.495,26.69)])
c_3rd_3_ota.add(gdstk.Reference(sky130_fd_pr__res_xhigh_, (19.31,27.025), rotation=pi/2))
c_3rd_3_ota.add(gdstk.Reference(sky130_fd_pr__nfet_01v8_, (9.22,17.955)))
c_3rd_3_ota.add(gdstk.Reference(sky130_fd_pr__nfet_01v8_, (6.93,17.955)))
c_3rd_3_ota.add(gdstk.Reference(sky130_fd_pr__nfet_01v8_, (11.51,17.955)))
c_3rd_3_ota.add(gdstk.Reference(sky130_fd_pr__nfet_01v8_, (9.22,23.99)))
c_3rd_3_ota.add(gdstk.Reference(sky130_fd_pr__nfet_01v8_, (6.93,23.99)))
c_3rd_3_ota.add(gdstk.Reference(sky130_fd_pr__pfet_01v8_, (16.085,11.28)))
c_3rd_3_ota.add(gdstk.Reference(sky130_fd_pr__pfet_01v8_, (10.795,5.47)))
c_3rd_3_ota.add(gdstk.Reference(sky130_fd_pr__pfet_01v8_, (5.505,5.47)))
c_3rd_3_ota.add(gdstk.Reference(sky130_fd_pr__pfet_01v8_, (10.795,11.28)))
c_3rd_3_ota.add(gdstk.Reference(sky130_fd_pr__pfet_01v8_, (5.505,11.28)))
c_3rd_3_ota.add(gdstk.Reference(c_sky130_fd_pr__nfet_01v8_, (19.655,22.57)))
c_3rd_3_ota.add(gdstk.Reference(c_sky130_fd_pr__pfet_01v8_, (19.555,18.345)))
c_3rd_3_ota.add(gdstk.Reference(c_sky130_fd_pr__pfet_01v8_, (21.335,18.345)))
c_3rd_3_ota.add(gdstk.Reference(sky130_fd_pr__pfet_01v8_, (0.215,5.47)))
c_3rd_3_ota.add(gdstk.Reference(sky130_fd_pr__pfet_01v8_, (0.215,11.28)))
c_3rd_3_ota.add(gdstk.Reference(c_sky130_fd_pr__nfet_01v8__, (8.205,30.055), rotation=pi/2))
c_3rd_3_ota.add(gdstk.Reference(sky130_fd_pr__nfet_01v8_, (4.64,17.955)))
c_3rd_3_ota.add(gdstk.Reference(sky130_fd_pr__nfet_01v8_, (4.64,23.99)))
c_3rd_3_ota.add(gdstk.Reference(sky130_fd_pr__cap_mim_m3, (23.63,38.47)))
c_3rd_3_ota.add(gdstk.Reference(sky130_fd_pr__pfet_01v8_, (16.085,5.47)))
c_3rd_3_ota.add(gdstk.Reference(c_sky130_fd_pr__nfet_01v8_, (21.435,22.57)))
c_3rd_3_ota.add(gdstk.Reference(sky130_fd_pr__nfet_01v8_, (11.51,23.99)))
c_3rd_3_ota.add(gdstk.Label('vcc', (21.075,1.95), layer=69, texttype=5))
c_3rd_3_ota.add(gdstk.Label('vss', (2.315,33.22), layer=69, texttype=5))
c_3rd_3_ota.add(gdstk.Label('vo3', (23.89,21.07), layer=69, texttype=5))
c_3rd_3_ota.add(gdstk.Label('vd3', (-0.33,21.38), layer=68, texttype=5))
c_3rd_3_ota.add(gdstk.Label('vd4', (-0.33,20.495), layer=68, texttype=5))
c_3rd_3_ota.add(gdstk.Label('vb', (1.105,28.685), layer=70, texttype=5))
c_3rd_3_ota.add(gdstk.Label('vd1', (13.095,34.875), layer=70, texttype=5))

lib.write_gds('3rd_3_OTA.gds')
